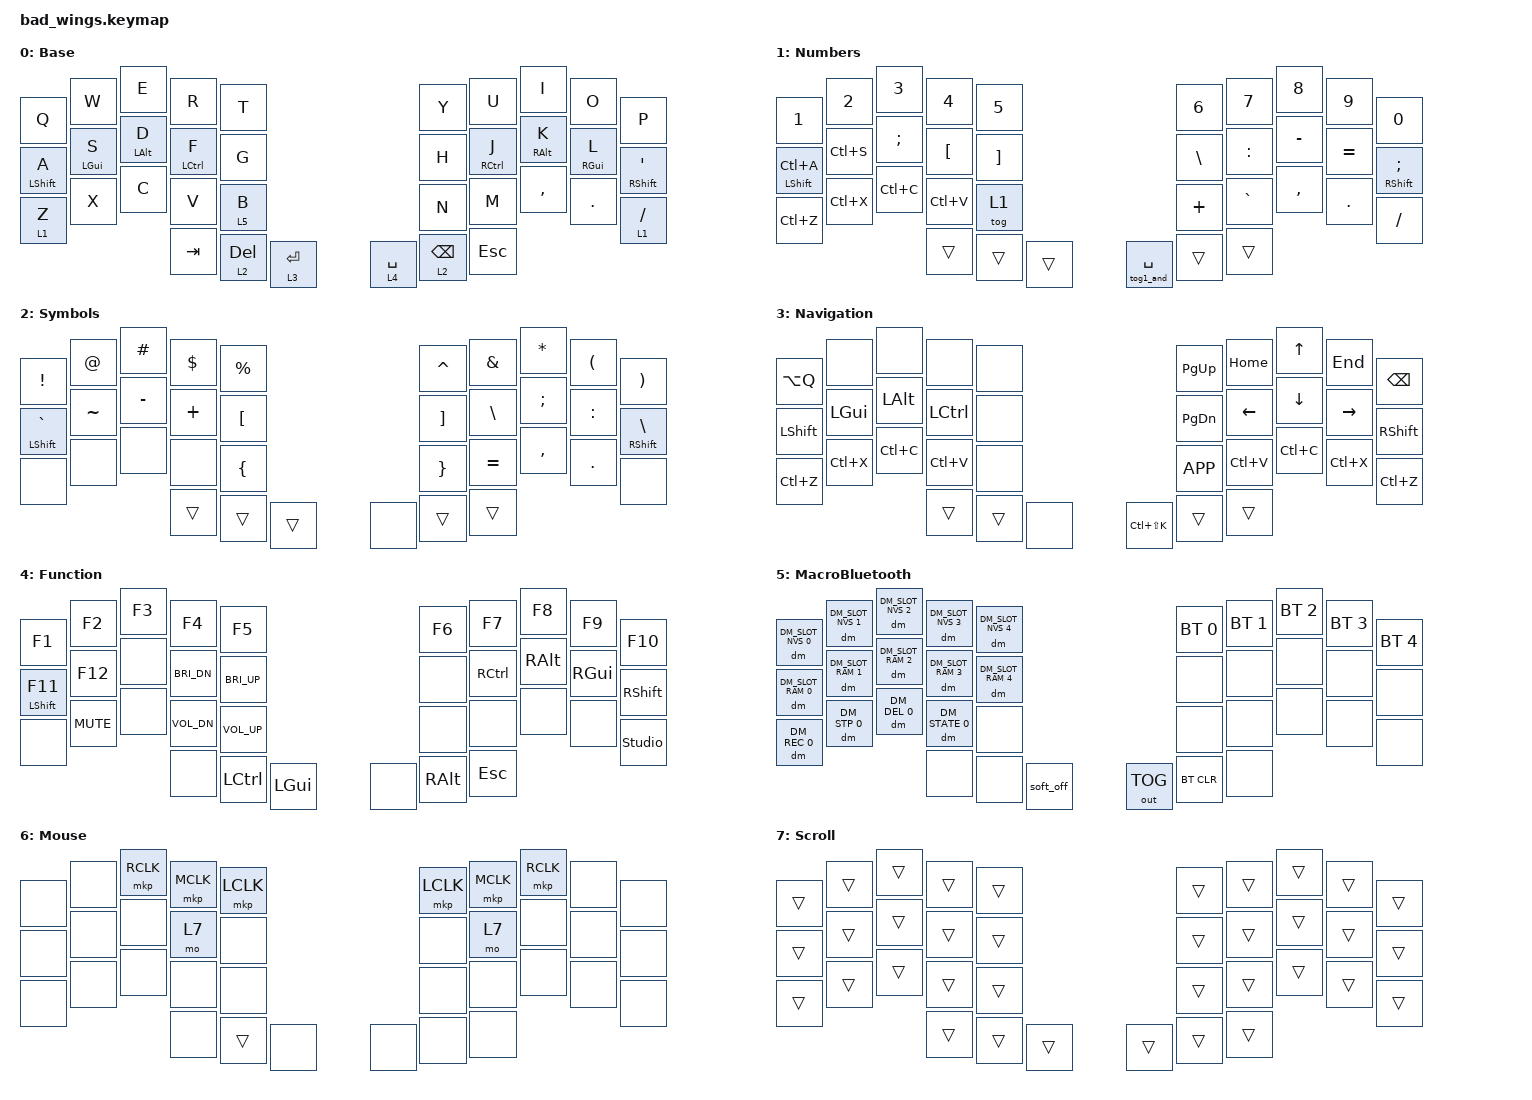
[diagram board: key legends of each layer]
// This file was generated from a template. Edit it to match your keyboard.
// See https://zmk.dev/docs/development/hardware-integration/new-shield for more instructions.

#include <behaviors.dtsi>
#include <dt-bindings/zmk/keys.h>
#include <dt-bindings/zmk/bt.h>
#include <dt-bindings/zmk/outputs.h>
#include <dt-bindings/zmk/pointing.h>
#include <dt-bindings/zmk/dynamic_macros.h>
#include <behaviors/dynamic_macro.dtsi>

#define ALPHA       0
#define SYMBOL 2
#define NUMBER 1
#define NAVIGATION 3
#define MOUSE 9
#define SCROLL 10
&mt {
    flavor = "tap-preferred";
    tapping_term_ms = <180>;
};

&lt {
    tapping_term_ms = <150>;
    flavor = "hold-preferred";
};
/ {
    behaviors {
        b_tap_hold: b_tap_hold {
            compatible = "zmk,behavior-hold-tap";
            #binding-cells = <2>;
            flavor = "tap-preferred";
            tapping-term-ms = <300>;
            quick-tap-ms = <0>;
            require-prior-idle-ms = <150>;
            bindings = <&kp>, <&kp>;
        };
        hm: home_row_mods {
            compatible = "zmk,behavior-hold-tap";
            #binding-cells = <2>;
            flavor = "balanced";
            tapping-term-ms = <200>;
            quick-tap-ms = <0>;
            require-prior-idle-ms = <150>;
            bindings = <&kp>, <&kp>;
        };
        hm_left: home_row_left {
            compatible = "zmk,behavior-hold-tap";
            #binding-cells = <2>;
            flavor = "tap-preferred";
            tapping-term-ms = <150>;
            hold-trigger-key-positions = <5 6 7 8 9 15 16 17 18 19 20 25 26 27 28 29 30 31 32 33 34 35>;
            bindings = <&kp>, <&kp>;
        };
        hm_right: home_row_right {
            compatible = "zmk,behavior-hold-tap";
            #binding-cells = <2>;
            flavor = "tap-preferred";
            tapping-term-ms = <150>;
            hold-trigger-key-positions = <0 1 2 3 4 10 11 12 13 14 20 21 22 23 24 29 30 31 32 33 34 35>;
            bindings = <&kp>, <&kp>;
        };
        blt: better_layer_tap {
            compatible = "zmk,behavior-hold-tap";
            #binding-cells = <2>;
            flavor = "tap-preferred";
            tapping-term-ms = <200>;
            quick-tap-ms = <0>;
            require-prior-idle-ms = <200>;
            bindings = <&mo>, <&kp>;
        };
        cmbo_minus: combo_minus_underscore {
            compatible = "zmk,behavior-mod-morph";
            #binding-cells = <0>;
            bindings = <&kp MINUS>, <&kp UNDERSCORE>;
            mods = <(MOD_LSFT|MOD_RSFT)>;
        };
    };

    macros {
        // Toggles Layer 1 AND sends whatever keycode you pass to it
        tog1_and: tog1_and {
            compatible = "zmk,behavior-macro-one-param";
            #binding-cells = <1>;
            bindings
                = <&tog 1>
                , <&macro_param_1to1 &kp MACRO_PLACEHOLDER>;
        };
    };
    combos {
        compatible = "zmk,combos";
        combo_bootloader {
            timeout-ms = <30>;
            key-positions = <0 9>;
            bindings = <&bootloader>;
            layers = <0>;
            require-prior-idle-ms = <200>;
        };
        minus {
            timeout-ms = <30>;
            key-positions = <8 9>;
            bindings = <&cmbo_minus>;
            require-prior-idle-ms = <175>;
            layers = <0 1 2>;
        };
        Grave {
            timeout-ms = <30>;
            key-positions = <0 1>;
            bindings = <&kp GRAVE>;
            require-prior-idle-ms = <175>;
            layers = <0 1 2>;
        };
        semi {
            timeout-ms = <30>;
            key-positions = <9 19>;
            bindings = <&kp SEMI>;
            require-prior-idle-ms = <175>;
            layers = <0 1 2>;
        };
        LParen {
            timeout-ms = <30>;
            key-positions = <3 4>;
            bindings = <&kp LPAR>;
            require-prior-idle-ms = <175>;
            layers = <0 1 2>;
        };
        RParen {
            timeout-ms = <30>;
            key-positions = <5 6>;
            bindings = <&kp RPAR>;
            require-prior-idle-ms = <175>;
            layers = <0 1 2>;
        };
        LBkt {
            timeout-ms = <30>;
            key-positions = <13 14>;
            bindings = <&kp LBKT>;
            require-prior-idle-ms = <175>;
            layers = <0 1 2>;
        };
        RBkt {
            timeout-ms = <30>;
            key-positions = <15 16>;
            bindings = <&kp RBKT>;
            require-prior-idle-ms = <175>;
            layers = <0 1 2>;
        };
        CapsWord {
            timeout-ms = <30>;
            key-positions = <10 19>;
            bindings = <&caps_word>;
            layers = <0 1 2>;
        };
        NumberLock {
            timeout-ms = <30>;
            key-positions = <20 29>;
            bindings = <&tog 1>;
            layers = <0 1 2>;
        };
        stickySym {
            timeout-ms = <30>;
            key-positions = <30 35>;
            bindings = <&sl 2>;
            layers = <0 1 2>;
        };
    };

    keymap {
        compatible = "zmk,keymap";

        Base {
            bindings = <
                &kp Q    &kp W           &kp E       &kp R       &kp T        &kp Y     &kp U            &kp I     &kp O    &kp P
                &hm_left LSHFT A   &hm_left LGUI S           &hm LALT D       &hm LCTRL F       &kp G        &kp H     &hm RCTRL J            &hm RALT K     &hm_right RGUI L    &hm_right RSHFT SQT
                &blt 1 Z   &kp X     &kp C       &kp V       &blt 5 B        &kp N     &kp M            &kp COMMA &kp DOT  &blt 1 FSLH
                                        &kp TAB   &blt 2 DEL  &blt 3 ENTER  &blt 4 SPACE &blt 2 BSPC  &kp ESC
            >;
        };

        Numbers {
            bindings = <
                &kp N1       &kp N2       &kp N3       &kp N4       &kp N5       &kp N6       &kp N7       &kp N8       &kp N9       &kp N0
                &hm_left LSHFT LC(A)      &kp LC(S)      &kp SEMI      &kp LBKT      &kp RBKT      &kp BSLH      &kp COLON      &kp MINUS      &kp EQUAL      &hm_right RSHFT SEMI
                &kp LC(Z)       &kp LC(X)       &kp LC(C)       &kp LC(V)       &tog 1       &kp PLUS       &kp GRAVE       &kp COMMA       &kp DOT      &kp FSLH
                                        &trans      &trans      &trans      &tog1_and SPACE      &trans      &trans
            >;
        };

        Symbols {
            bindings = <
                &kp EXCL    &kp AT      &kp HASH    &kp DLLR    &kp PRCNT   &kp CARET   &kp AMPS    &kp STAR    &kp LPAR    &kp RPAR
                &hm_left LSHFT GRAVE   &kp TILDE   &kp MINUS   &kp PLUS   &kp LBKT       &kp RBKT        &kp BSLH        &kp SEMI        &kp COLON        &hm_right RSHFT BSLH
                &none       &none       &none    &none   &kp LBRC       &kp RBRC       &kp EQUAL       &kp COMMA   &kp DOT     &none
                                        &trans      &trans      &trans      &none      &trans      &trans
            >;
        };

        Navigation {
            bindings = <
                &kp LA(Q)           &none          &none    &none    &none      &kp PG_UP       &kp HOME    &kp UP      &kp END     &kp BSPC
                &kp LSHFT         &kp LGUI           &kp LALT    &kp LCTRL    &none           &kp PG_DN       &kp LEFT    &kp DOWN    &kp RIGHT   &kp RSHFT
                &kp LC(Z)           &kp LC(X)           &kp LC(C)    &kp LC(V)    &none    &kp K_APP       &kp LC(V)  &kp LC(C)    &kp LC(X)  &kp LC(Z)
                                                &trans          &trans          &none          &kp LC(LS(K))      &trans      &trans
            >;
        };

        Function {
            bindings = <
                &kp F1 &kp F2 &kp F3 &kp F4 &kp F5 &kp F6 &kp F7 &kp F8 &kp F9 &kp F10
                &hm_left LSHFT F11 &kp F12 &none &kp C_BRI_DN &kp C_BRI_UP &none &kp RCTRL &kp RALT &kp RGUI &kp RSHFT
                &none &kp C_MUTE &none &kp C_VOL_DN &kp C_VOL_UP &none &none &none &none &studio_unlock
                &none &kp LCTRL &kp LGUI &none &kp RALT &kp ESC
            >;
        };

        MacroBluetooth {
            bindings = <
                &dm DM_SLOT_NVS 0  &dm DM_SLOT_NVS 1  &dm DM_SLOT_NVS 2  &dm DM_SLOT_NVS 3 &dm DM_SLOT_NVS 4 &bt BT_SEL 0 &bt BT_SEL 1 &bt BT_SEL 2 &bt BT_SEL 3 &bt BT_SEL 4
                &dm DM_SLOT_RAM 0  &dm DM_SLOT_RAM 1  &dm DM_SLOT_RAM 2  &dm DM_SLOT_RAM 3 &dm DM_SLOT_RAM 4 &none &none &none &none &none
                &dm DM_REC 0       &dm DM_STP 0       &dm DM_DEL 0       &dm DM_STATE 0 &none &none &none &none &none &none
                &none &none &soft_off &out OUT_TOG &bt BT_CLR &none
            >;
        };

        Mouse {
            bindings = <
                &none &none &mkp RCLK &mkp MCLK &mkp LCLK &mkp LCLK &mkp MCLK &mkp RCLK &none &none
                &none &none &none &mo 7 &none &none &mo 7 &none &none &none
                &none &none &none &none &none &none &none &none &none &none
                &none &trans &none &none &none &none
            >;
        };

        Scroll {
            bindings = <
                &trans &trans &trans &trans &trans &trans &trans &trans &trans &trans
                &trans &trans &trans &trans &trans &trans &trans &trans &trans &trans
                &trans &trans &trans &trans &trans &trans &trans &trans &trans &trans
                &trans &trans &trans &trans &trans &trans
            >;
        };
    };
};
